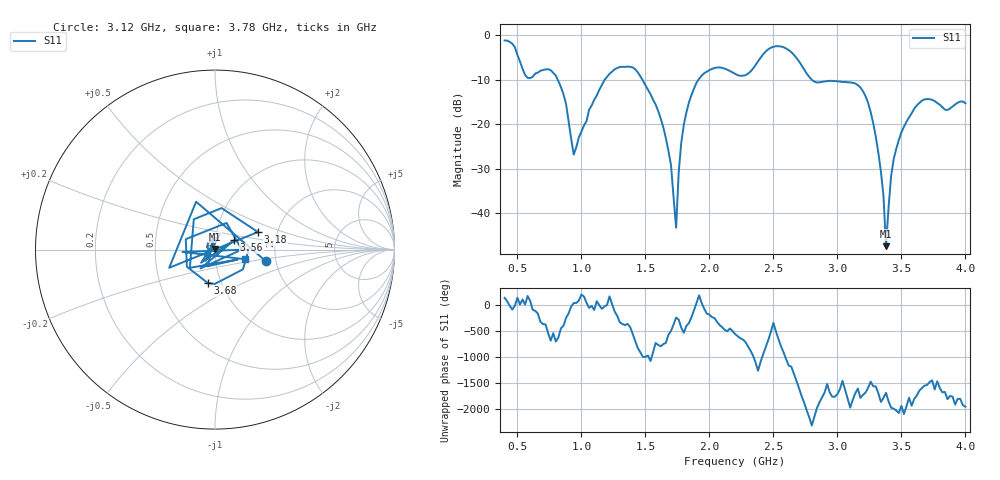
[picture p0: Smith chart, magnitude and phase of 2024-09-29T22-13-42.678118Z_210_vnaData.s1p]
!Created with skrf (http://scikit-rf.org).
# Hz S RI R 50.0
!freq ReS11 ImS11
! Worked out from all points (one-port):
!   181 points, 400 MHz to 4 GHz, reference 50 ohm
!   lowest |S11| = -47.5 dB at 3.38 GHz (marker M1), VSWR 1.01, Z = 49.8 + j0.365 ohm
!   |S11| at or under -10 dB: 814.8 MHz to 1.182 GHz (367.3 MHz wide, 36.8 % of centre); 1.476 GHz to 1.915 GHz (438.7 MHz wide, 25.9 % of centre); 2.799 GHz to end of sweep
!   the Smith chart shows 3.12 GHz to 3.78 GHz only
!   S11 on the Smith chart (normalised r, x): 3.12 GHz: 1.77, -0.25; 3.18 GHz: 1.59, +0.33; 3.56 GHz: 1.23, +0.13; 3.68 GHz: 0.86, -0.33; 3.78 GHz: 1.38, -0.15
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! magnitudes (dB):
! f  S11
! 400 MHz  -1.2
! 580 MHz  -9.6
! 760 MHz  -7.9
! 860 MHz  -13.3
! 940 MHz  -26.9
! 1.14 GHz  -12.3
! 1.3 GHz  -7.2
! 1.42 GHz  -7.6
! 1.6 GHz  -17.1
! 1.7 GHz  -29.2
! 1.74 GHz  -43.3
! 1.76 GHz  -30.9
! 1.8 GHz  -20.2
! 1.9 GHz  -10.6
! 2.2 GHz  -8.7
! 2.66 GHz  -4.4
! 2.82 GHz  -10.4
! 3.1 GHz  -10.6
! 3.12 GHz  -10.7
! 3.18 GHz  -11.8
! 3.3 GHz  -22.8
! 3.36 GHz  -36.1
! 3.38 GHz  -47.5
! 3.44 GHz  -27.8
! 3.56 GHz  -18.5
! 3.68 GHz  -14.4
! 3.78 GHz  -15.2
! 4 GHz  -15.3
